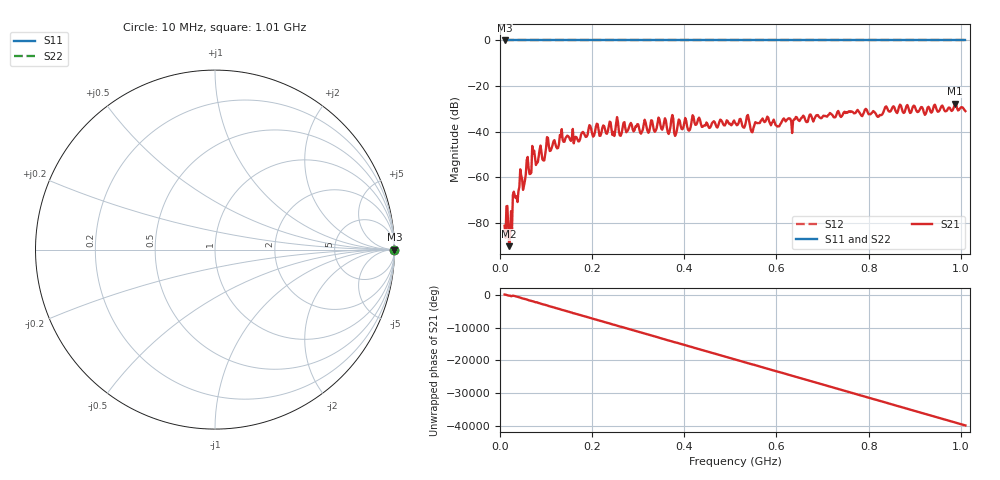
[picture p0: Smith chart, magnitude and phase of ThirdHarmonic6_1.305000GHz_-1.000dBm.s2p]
! 8/16/2025 2:23:38 PM
! C:\ANRITSUVNA\TEMP\TEMP.S2P
! CHANNEL.1
! TR.MEASUREMENT
! RAW.DATA
! RF.CORRECTION.OFF
! AVERAGING.OFF
! IF.BANDWIDTH: 5KHZ
! SWEEPTYPE:  FREQ.SWEEP(Linear)
! Reference Plane Port Info
! PORT:  PORT1  PORT2
! DISTANCE:  0  m  0  m
! TIME:  0  s  0  s
! PHASE.OFFSET:  0  deg.  0  deg.
! LOSS:  0  dB  0  dB
! REF.LOSS:  0  dB  0  dB
! REF.FREQ:  0  Hz  0  Hz
! Power Info
! POWER:  -20  dBm  -20  dBm
! EFF.POWER:  -20  dBm  -20  dBm
! SOURCE.ATTEN:  0  dB  0  dB
! TEST.ATTEN:  0  dB  0  dB
# GHZ S RI R 50.0
! FREQ.GHZ  S11RE  S11IM  S21RE  S21IM  S12RE  S12IM  S22RE  S22IM
!; PortSelection: Port_12
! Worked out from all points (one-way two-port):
!   501 points, 10 MHz to 1.01 GHz, reference 50 ohm
!   highest |S21| = -27.79 dB at 988 MHz (marker M1); lowest = -90.3 dB at 20 MHz (marker M2)
!   lowest |S11| = 0.0 dB at 10 MHz (marker M3)
!   |S11| at or under -10 dB: nowhere
!   |S22| runs from 0.0 to 0.0 dB; largest |S21 - S12| = 1
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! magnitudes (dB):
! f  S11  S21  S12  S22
! 10 MHz  0.0  -81.3  0.0  0.0
! 20 MHz  0.0  -90.3  0.0  0.0
! 44 MHz  0.0  -56.5  0.0  0.0
! 52 MHz  0.0  -63.8  0.0  0.0
! 74 MHz  0.0  -48.3  0.0  0.0
! 80 MHz  0.0  -53.4  0.0  0.0
! 96 MHz  0.0  -52.7  0.0  0.0
! 104 MHz  0.0  -42.7  0.0  0.0
! 178 MHz  0.0  -40.5  0.0  0.0
! 344 MHz  0.0  -33.8  0.0  0.0
! 366 MHz  0.0  -41.0  0.0  0.0
! 374 MHz  0.0  -32.7  0.0  0.0
! 382 MHz  0.0  -41.0  0.0  0.0
! 420 MHz  0.0  -33.5  0.0  0.0
! 510 MHz  0.0  -36.1  0.0  0.0
! 538 MHz  0.0  -32.7  0.0  0.0
! 548 MHz  0.0  -40.3  0.0  0.0
! 580 MHz  0.0  -33.4  0.0  0.0
! 678 MHz  0.0  -34.6  0.0  0.0
! 844 MHz  0.0  -31.2  0.0  0.0
! 988 MHz  0.0  -27.8  0.0  0.0
! 1.01 GHz  0.0  -31.0  0.0  0.0
